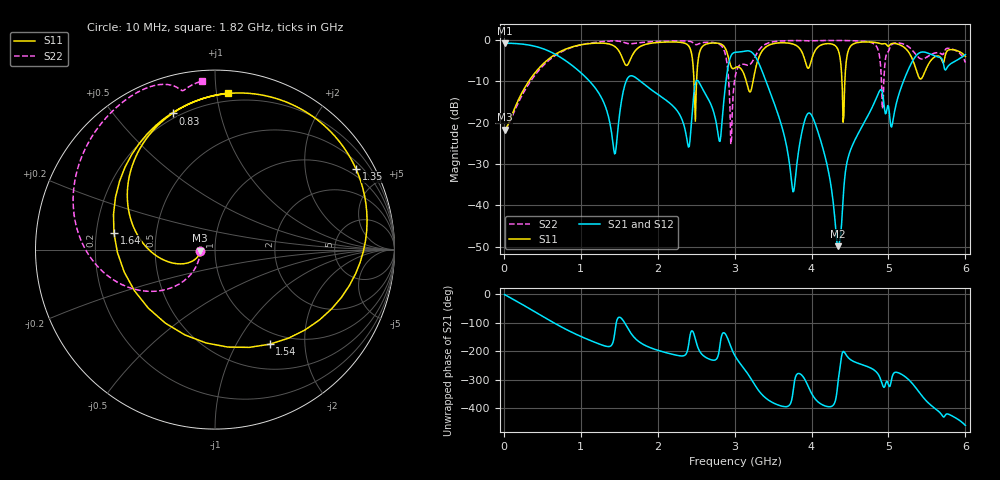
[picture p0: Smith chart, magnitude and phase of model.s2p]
! G_pp100: cavity model (double cosine series), 1 ohm
# Hz S RI R 1
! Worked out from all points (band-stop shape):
!   600 points, 10 MHz to 6 GHz, reference 1 ohm
!   highest |S21| = -0.75 dB at 10 MHz (marker M1); lowest = -49.8 dB at 4.34 GHz (marker M2)
!   |S21| within 3 dB of the highest: start of sweep to 699 MHz; 2.955 GHz to 3.262 GHz (307 MHz wide, 9.88 % of centre)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
!   lowest |S11| = -21.6 dB at 10 MHz (marker M3), VSWR 1.18, Z = 0.847 - j0.0097 ohm
!   |S11| at or under -10 dB: start of sweep to 323.1 MHz; 3.152 GHz to 3.239 GHz (86.93 MHz wide, 2.72 % of centre); 4.395 GHz to 4.433 GHz (37.66 MHz wide, 0.853 % of centre)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
!   |S22| runs from -25.2 to -0.1 dB; largest |S21 - S12| = 0
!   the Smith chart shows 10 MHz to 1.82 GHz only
!   S11 on the Smith chart (normalised r, x): 10 MHz: 0.85, -0.01; 830 MHz: 0.17, +0.72; 1.35 GHz: 0.73, +3.62; 1.54 GHz: 0.83, -1.39; 1.64 GHz: 0.28, +0.08; 1.82 GHz: 0.14, +1.08
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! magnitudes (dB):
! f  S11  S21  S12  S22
! 10 MHz  -21.6  -0.7  -0.7  -21.7
! 830 MHz  -2.0  -5.3  -5.3  -2.1
! 1.01 GHz  -1.1  -8.0  -8.0  -1.1
! 1.35 GHz  -0.9  -17.8  -17.8  -0.3
! 1.44 GHz  -1.5  -27.5  -27.5  -0.2
! 1.54 GHz  -4.3  -13.6  -13.6  -0.4
! 1.64 GHz  -4.9  -8.7  -8.7  -0.9
! 1.82 GHz  -1.2  -10.6  -10.6  -0.5
! 2.01 GHz  -0.6  -13.2  -13.2  -0.3
! 2.4 GHz  -1.3  -25.9  -25.9  -0.2
! 2.49 GHz  -19.6  -10.4  -10.4  -1.1
! 2.8 GHz  -0.8  -24.4  -24.4  -1.0
! 2.95 GHz  -6.2  -3.9  -3.9  -25.2
! 3.01 GHz  -6.6  -2.9  -2.9  -8.6
! 3.32 GHz  -3.9  -5.8  -5.8  -2.3
! 3.76 GHz  -1.0  -36.7  -36.7  -0.1
! 4.01 GHz  -4.1  -18.5  -18.5  -0.2
! 4.34 GHz  -2.2  -49.8  -49.8  -0.1
! 4.42 GHz  -18.4  -35.7  -35.7  -0.1
! 4.53 GHz  -1.1  -25.5  -25.5  -0.1
! 5.01 GHz  -1.4  -17.2  -17.2  -2.3
! 6 GHz  -3.9  -3.5  -3.5  -5.5
